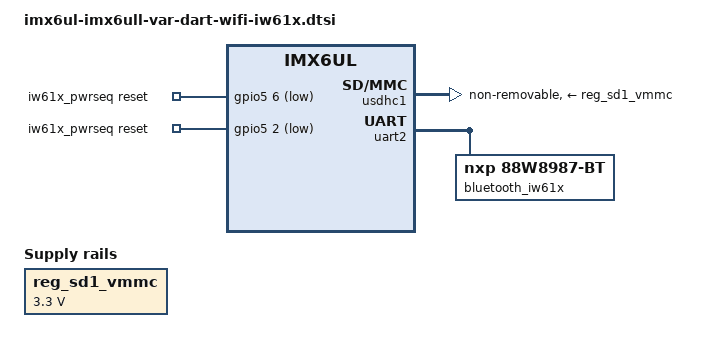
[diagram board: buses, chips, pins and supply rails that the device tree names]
/*
 * Copyright 2024-2025 Variscite Ltd. - https://www.variscite.com
 *
 * This program is free software; you can redistribute it and/or modify
 * it under the terms of the GNU General Public License version 2 as
 * published by the Free Software Foundation.
 */

/ {
	regulators {
		reg_sd1_vmmc: regulator_sd1_vmmc {
			compatible = "regulator-fixed";
			regulator-name = "VSD_3V3";
			regulator-min-microvolt = <3300000>;
			regulator-max-microvolt = <3300000>;
		};
	};

	iw61x_pwrseq: iw61x_pwrseq {
		compatible = "mmc-pwrseq-simple";
		post-power-on-delay-ms = <100>;
		power-off-delay-us = <10000>;
		reset-gpios = <&gpio5 6 GPIO_ACTIVE_LOW>,	/* WIFI_RESET */
			      <&gpio5 2 GPIO_ACTIVE_LOW>;	/* WIFI_PWR_EN */
		status = "okay";
	};
};

&tsc {
	status = "disabled";
};

&usdhc1 {
	#address-cells = <1>;
	#size-cells = <0>;
	pinctrl-names = "default", "state_100mhz", "state_200mhz";
	pinctrl-0 = <&pinctrl_usdhc1>, <&pinctrl_wifi>;
	pinctrl-1 = <&pinctrl_usdhc1_100mhz>, <&pinctrl_wifi>;
	pinctrl-2 = <&pinctrl_usdhc1_200mhz>, <&pinctrl_wifi>;
	keep-power-in-suspend;
	non-removable;
	vmmc-supply = <&reg_sd1_vmmc>;
	mmc-pwrseq = <&iw61x_pwrseq>;
	status = "okay";
};

&uart2 {
	bluetooth_iw61x: bluetooth_iw61x {
		compatible = "nxp,88w8987-bt";
		status = "okay";
	};
};
